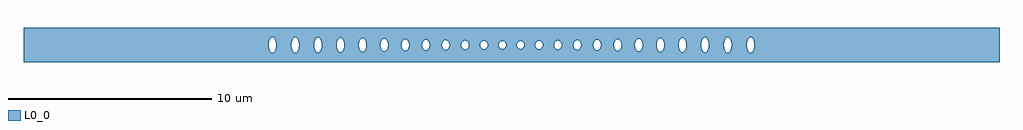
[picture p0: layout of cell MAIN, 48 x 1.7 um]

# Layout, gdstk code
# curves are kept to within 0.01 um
import gdstk
lib = gdstk.Library(unit=1e-6, precision=1e-09)
def P(c, l, *ps):  # polygons
    for p in ps: c.add(gdstk.Polygon(p, *l))
L0_0 = (0, 0)

main = lib.new_cell('MAIN')
P(main, L0_0, [(-11.791,-0.388),(-11.852,-0.345),(-11.906,-0.253),(-11.906,-0.85),(-11.791,-0.85)],
  [(-11.786,0.39),(-11.716,0.383),(-11.666,0.342),(-11.613,0.248),(-11.581,0.126),(-11.581,0.85),(-11.791,0.85)],
  [(-11.581,-0.126),(-11.613,-0.248),(-11.666,-0.342),(-11.732,-0.389),(-11.791,-0.388),(-11.791,-0.85),(-11.581,-0.85)],
  [(24,0.85),(11.906,0.85),(11.906,0.253),(11.95,0.022),(11.942,-0.116),(11.906,-0.253),(11.906,-0.85),(24,-0.85)],
  [(-10.722,0.347),(-10.66,0.387),(-10.593,0.38),(-10.531,0.325),(-10.486,0.238),(-10.486,0.85),(-10.727,0.85)],
  [(-10.486,-0.238),(-10.531,-0.325),(-10.593,-0.38),(-10.66,-0.387),(-10.727,-0.342),(-10.727,-0.85),(-10.486,-0.85)],
  [(-10.826,0.006),(-10.796,0.211),(-10.727,0.342),(-10.727,0.85),(-11.581,0.85),(-11.571,0)],
  [(-9.654,0.262),(-9.601,0.34),(-9.538,0.377),(-9.472,0.369),(-9.407,0.31),(-9.407,0.85),(-9.656,0.85)],
  [(-9.407,-0.31),(-9.472,-0.369),(-9.538,-0.377),(-9.601,-0.34),(-9.656,-0.258),(-9.656,-0.85),(-9.407,-0.85)],
  [(-9.706,0.003),(-9.696,0.122),(-9.656,0.258),(-9.656,0.85),(-10.486,0.85),(-10.486,0.238),(-10.454,0.11),(-10.447,0)],
  [(-8.577,0.17),(-8.54,0.264),(-8.476,0.34),(-8.404,0.363),(-8.341,0.338),(-8.341,0.85),(-8.578,0.85)],
  [(-8.341,-0.338),(-8.404,-0.363),(-8.476,-0.34),(-8.54,-0.264),(-8.578,-0.166),(-8.578,-0.85),(-8.341,-0.85)],
  [(-8.599,0.005),(-8.578,0.166),(-8.578,0.85),(-9.407,0.85),(-9.407,0.31),(-9.348,0.175),(-9.327,0)],
  [(-7.504,0.093),(-7.474,0.205),(-7.416,0.298),(-7.35,0.339),(-7.284,0.336),(-7.284,0.85),(-7.505,0.85)],
  [(-7.284,-0.336),(-7.35,-0.339),(-7.416,-0.298),(-7.474,-0.205),(-7.505,-0.088),(-7.505,-0.85),(-7.284,-0.85)],
  [(-7.511,0.005),(-7.505,0.85),(-8.341,0.85),(-8.341,0.338),(-8.29,0.282),(-8.252,0.203),(-8.22,0)],
  [(-6.446,0.045),(-6.427,0.146),(-6.383,0.241),(-6.315,0.305),(-6.236,0.317),(-6.236,0.85),(-6.446,0.85)],
  [(-6.236,-0.317),(-6.315,-0.305),(-6.383,-0.241),(-6.427,-0.146),(-6.446,-0.04),(-6.446,-0.85),(-6.236,-0.85)],
  [(-6.447,0.005),(-6.446,0.85),(-7.284,0.85),(-7.284,0.336),(-7.225,0.295),(-7.173,0.213),(-7.139,0.093),(-7.132,0)],
  [(-5.41,0.031),(-5.388,0.142),(-5.338,0.233),(-5.271,0.285),(-5.194,0.292),(-5.194,0.85),(-5.41,0.85)],
  [(-5.194,-0.292),(-5.271,-0.285),(-5.338,-0.233),(-5.388,-0.142),(-5.41,-0.027),(-5.41,-0.85),(-5.194,-0.85)],
  [(-5.411,0.002),(-5.41,0.85),(-6.236,0.85),(-6.236,0.317),(-6.173,0.286),(-6.112,0.205),(-6.084,0.128),(-6.068,0)],
  [(-4.4,0.053),(-4.362,0.17),(-4.305,0.238),(-4.231,0.27),(-4.157,0.258),(-4.157,0.85),(-4.4,0.85)],
  [(-4.157,-0.258),(-4.237,-0.269),(-4.319,-0.226),(-4.375,-0.143),(-4.4,-0.048),(-4.4,-0.85),(-4.157,-0.85)],
  [(-4.403,0.002),(-4.4,0.85),(-5.194,0.85),(-5.194,0.292),(-5.124,0.254),(-5.081,0.199),(-5.045,0.109),(-5.032,0)],
  [(-3.407,0.105),(-3.355,0.192),(-3.286,0.239),(-3.205,0.245),(-3.125,0.201),(-3.125,0.85),(-3.408,0.85)],
  [(-3.125,-0.201),(-3.205,-0.245),(-3.286,-0.239),(-3.363,-0.183),(-3.408,-0.101),(-3.408,-0.85),(-3.125,-0.85)],
  [(-3.425,0.002),(-3.408,0.101),(-3.408,0.85),(-4.157,0.85),(-4.157,0.258),(-4.102,0.219),(-4.059,0.157),(-4.024,0)],
  [(-2.404,0.175),(-2.333,0.22),(-2.248,0.224),(-2.168,0.181),(-2.113,0.099),(-2.113,0.85),(-2.41,0.85)],
  [(-2.113,-0.099),(-2.168,-0.181),(-2.248,-0.224),(-2.333,-0.22),(-2.41,-0.17),(-2.41,-0.85),(-2.113,-0.85)],
  [(-2.473,0.004),(-2.453,0.103),(-2.41,0.17),(-2.41,0.85),(-3.125,0.85),(-3.125,0.201),(-3.07,0.123),(-3.046,0)],
  [(-1.546,0.004),(-1.537,0.065),(-1.504,0.133),(-1.448,0.185),(-1.382,0.209),(-1.382,0.85),(-2.113,0.85),(-2.113,0.099),(-2.094,0)],
  [(-0.633,0.044),(-0.596,0.126),(-0.518,0.187),(-0.429,0.2),(-0.341,0.166),(-0.341,0.85),(-0.634,0.85)],
  [(-0.341,-0.166),(-0.429,-0.2),(-0.518,-0.187),(-0.596,-0.126),(-0.634,-0.04),(-0.634,-0.85),(-0.341,-0.85)],
  [(-0.637,0.004),(-0.634,0.85),(-1.382,0.85),(-1.382,0.209),(-1.305,0.204),(-1.237,0.165),(-1.188,0.099),(-1.167,0)],
  [(0.348,0.17),(0.429,0.2),(0.518,0.187),(0.596,0.126),(0.634,0.04),(0.634,0.85),(0.341,0.85)],
  [(0.634,-0.04),(0.596,-0.126),(0.518,-0.187),(0.429,-0.2),(0.341,-0.166),(0.341,-0.85),(0.634,-0.85)],
  [(0.258,0.004),(0.281,0.096),(0.341,0.166),(0.341,0.85),(-0.341,0.85),(-0.341,0.166),(-0.281,0.096),(-0.258,0)],
  [(1.167,0.004),(1.188,0.099),(1.237,0.165),(1.305,0.204),(1.382,0.209),(1.382,0.85),(0.634,0.85),(0.637,0)],
  [(2.114,0.103),(2.168,0.181),(2.248,0.224),(2.333,0.22),(2.41,0.17),(2.41,0.85),(2.113,0.85)],
  [(2.41,-0.17),(2.336,-0.219),(2.248,-0.224),(2.168,-0.181),(2.113,-0.099),(2.113,-0.85),(2.41,-0.85)],
  [(2.094,0.004),(2.113,0.099),(2.113,0.85),(1.382,0.85),(1.382,0.209),(1.448,0.185),(1.504,0.133),(1.537,0.065),(1.546,0)],
  [(3.129,0.205),(3.21,0.246),(3.291,0.237),(3.359,0.188),(3.407,0.103),(3.407,0.85),(3.123,0.85)],
  [(3.407,-0.103),(3.359,-0.188),(3.291,-0.237),(3.2,-0.244),(3.123,-0.2),(3.123,-0.85),(3.407,-0.85)],
  [(3.046,0.002),(3.066,0.113),(3.123,0.2),(3.123,0.85),(2.41,0.85),(2.41,0.17),(2.459,0.087),(2.473,0)],
  [(4.162,0.26),(4.232,0.27),(4.312,0.232),(4.367,0.16),(4.4,0.051),(4.4,0.85),(4.156,0.85)],
  [(4.4,-0.051),(4.367,-0.16),(4.312,-0.232),(4.232,-0.27),(4.156,-0.258),(4.156,-0.85),(4.4,-0.85)],
  [(4.024,0.002),(4.058,0.155),(4.098,0.215),(4.156,0.258),(4.156,0.85),(3.407,0.85),(3.407,0.103),(3.425,0)],
  [(5.199,0.293),(5.276,0.283),(5.344,0.226),(5.393,0.127),(5.41,0.029),(5.41,0.85),(5.193,0.85)],
  [(5.41,-0.029),(5.393,-0.127),(5.344,-0.226),(5.267,-0.287),(5.193,-0.292),(5.193,-0.85),(5.41,-0.85)],
  [(5.032,0.002),(5.048,0.12),(5.076,0.19),(5.131,0.26),(5.193,0.292),(5.193,0.85),(4.4,0.85),(4.403,0)],
  [(6.242,0.318),(6.315,0.305),(6.383,0.241),(6.427,0.146),(6.446,0.04),(6.446,0.85),(6.236,0.85)],
  [(6.446,-0.04),(6.427,-0.146),(6.383,-0.241),(6.315,-0.305),(6.236,-0.317),(6.236,-0.85),(6.446,-0.85)],
  [(6.068,0.005),(6.084,0.128),(6.12,0.22),(6.173,0.286),(6.236,0.317),(6.236,0.85),(5.41,0.85),(5.411,0)],
  [(7.29,0.338),(7.35,0.339),(7.416,0.298),(7.474,0.205),(7.505,0.088),(7.505,0.85),(7.284,0.85)],
  [(7.505,-0.088),(7.474,-0.205),(7.416,-0.298),(7.35,-0.339),(7.284,-0.336),(7.284,-0.85),(7.505,-0.85)],
  [(7.132,0.005),(7.139,0.093),(7.173,0.213),(7.225,0.295),(7.284,0.336),(7.284,0.85),(6.446,0.85),(6.447,0)],
  [(8.346,0.342),(8.415,0.363),(8.476,0.34),(8.54,0.264),(8.578,0.166),(8.578,0.85),(8.341,0.85)],
  [(8.578,-0.166),(8.54,-0.264),(8.476,-0.34),(8.404,-0.363),(8.341,-0.338),(8.341,-0.85),(8.578,-0.85)],
  [(8.22,0.005),(8.252,0.203),(8.29,0.282),(8.341,0.338),(8.341,0.85),(7.505,0.85),(7.511,0)],
  [(9.411,0.315),(9.468,0.367),(9.542,0.376),(9.6,0.341),(9.655,0.26),(9.655,0.85),(9.406,0.85)],
  [(9.655,-0.26),(9.6,-0.341),(9.542,-0.376),(9.468,-0.367),(9.406,-0.308),(9.406,-0.85),(9.655,-0.85)],
  [(9.327,0.003),(9.346,0.167),(9.406,0.308),(9.406,0.85),(8.578,0.85),(8.578,0.166),(8.599,0)],
  [(10.488,0.242),(10.531,0.325),(10.593,0.38),(10.66,0.387),(10.727,0.342),(10.727,0.85),(10.486,0.85)],
  [(10.727,-0.342),(10.66,-0.387),(10.593,-0.38),(10.531,-0.325),(10.486,-0.238),(10.486,-0.85),(10.727,-0.85)],
  [(10.447,0.006),(10.454,0.11),(10.486,0.238),(10.486,0.85),(9.655,0.85),(9.655,0.26),(9.694,0.135),(9.706,0)],
  [(11.582,0.132),(11.613,0.248),(11.666,0.342),(11.732,0.389),(11.791,0.388),(11.791,0.85),(11.581,0.85)],
  [(11.791,-0.388),(11.732,-0.389),(11.666,-0.342),(11.613,-0.248),(11.581,-0.126),(11.581,-0.85),(11.791,-0.85)],
  [(-11.906,-0.253),(-11.95,-0.022),(-11.942,0.116),(-11.906,0.253),(-11.906,0.85),(-24,0.85),(-24,-0.85),(-11.906,-0.85)],
  [(-11.904,0.257),(-11.852,0.345),(-11.791,0.388),(-11.791,0.85),(-11.906,0.85)],
  [(11.906,0.85),(11.791,0.85),(11.791,0.388),(11.852,0.345),(11.906,0.253)],
  [(11.906,-0.253),(11.852,-0.345),(11.791,-0.388),(11.791,-0.85),(11.906,-0.85)],
  [(-10.727,-0.342),(-10.796,-0.211),(-10.826,0),(-11.571,0),(-11.581,-0.85),(-10.727,-0.85)],
  [(-9.656,-0.258),(-9.696,-0.122),(-9.706,0),(-10.447,0),(-10.454,-0.11),(-10.486,-0.238),(-10.486,-0.85),(-9.656,-0.85)],
  [(-8.578,-0.166),(-8.599,0),(-9.327,0),(-9.348,-0.175),(-9.407,-0.31),(-9.407,-0.85),(-8.578,-0.85)],
  [(-7.505,-0.088),(-7.511,0),(-8.22,0),(-8.252,-0.203),(-8.29,-0.282),(-8.341,-0.338),(-8.341,-0.85),(-7.505,-0.85)],
  [(-6.446,-0.04),(-6.447,0),(-7.132,0),(-7.139,-0.093),(-7.173,-0.213),(-7.225,-0.295),(-7.284,-0.336),(-7.284,-0.85),(-6.446,-0.85)],
  [(-5.41,-0.027),(-5.411,0),(-6.068,0),(-6.084,-0.128),(-6.112,-0.205),(-6.173,-0.286),(-6.236,-0.317),(-6.236,-0.85),(-5.41,-0.85)],
  [(-4.4,-0.048),(-4.403,0),(-5.032,0),(-5.045,-0.109),(-5.081,-0.199),(-5.124,-0.254),(-5.194,-0.292),(-5.194,-0.85),(-4.4,-0.85)],
  [(-3.408,-0.101),(-3.425,0),(-4.024,0),(-4.059,-0.157),(-4.102,-0.219),(-4.157,-0.258),(-4.157,-0.85),(-3.408,-0.85)],
  [(-2.41,-0.17),(-2.459,-0.087),(-2.473,0),(-3.046,0),(-3.07,-0.123),(-3.125,-0.201),(-3.125,-0.85),(-2.41,-0.85)],
  [(-1.382,-0.209),(-1.448,-0.185),(-1.504,-0.133),(-1.537,-0.065),(-1.546,0),(-2.094,0),(-2.113,-0.099),(-2.113,-0.85),(-1.382,-0.85)],
  [(-0.634,-0.04),(-0.637,0),(-1.167,0),(-1.188,-0.099),(-1.237,-0.165),(-1.305,-0.204),(-1.382,-0.209),(-1.382,-0.85),(-0.634,-0.85)],
  [(0.341,-0.166),(0.281,-0.096),(0.258,0),(-0.258,0),(-0.279,-0.092),(-0.341,-0.166),(-0.341,-0.85),(0.341,-0.85)],
  [(1.382,-0.209),(1.305,-0.204),(1.237,-0.165),(1.188,-0.099),(1.167,0),(0.637,0),(0.634,-0.85),(1.382,-0.85)],
  [(2.113,-0.099),(2.094,0),(1.546,0),(1.537,-0.065),(1.504,-0.133),(1.448,-0.185),(1.382,-0.209),(1.382,-0.85),(2.113,-0.85)],
  [(3.123,-0.2),(3.066,-0.113),(3.046,0),(2.473,0),(2.459,-0.087),(2.41,-0.17),(2.41,-0.85),(3.123,-0.85)],
  [(4.156,-0.258),(4.098,-0.215),(4.058,-0.155),(4.024,0),(3.425,0),(3.407,-0.103),(3.407,-0.85),(4.156,-0.85)],
  [(5.193,-0.292),(5.131,-0.26),(5.076,-0.19),(5.048,-0.12),(5.032,0),(4.403,0),(4.4,-0.85),(5.193,-0.85)],
  [(6.236,-0.317),(6.173,-0.286),(6.112,-0.205),(6.084,-0.128),(6.068,0),(5.411,0),(5.41,-0.85),(6.236,-0.85)],
  [(7.284,-0.336),(7.225,-0.295),(7.173,-0.213),(7.139,-0.093),(7.132,0),(6.447,0),(6.446,-0.85),(7.284,-0.85)],
  [(8.341,-0.338),(8.29,-0.282),(8.252,-0.203),(8.22,0),(7.511,0),(7.505,-0.85),(8.341,-0.85)],
  [(9.406,-0.308),(9.346,-0.167),(9.327,0),(8.599,0),(8.578,-0.166),(8.578,-0.85),(9.406,-0.85)],
  [(10.486,-0.238),(10.454,-0.11),(10.447,0),(9.706,0),(9.694,-0.135),(9.655,-0.26),(9.655,-0.85),(10.486,-0.85)],
  [(11.581,-0.126),(11.571,0),(10.826,0),(10.796,-0.211),(10.727,-0.342),(10.727,-0.85),(11.581,-0.85)],
  [(11.571,0.006),(11.581,0.85),(10.727,0.85),(10.727,0.342),(10.796,0.211),(10.826,0)])

lib.write_gds('MAIN.gds')
